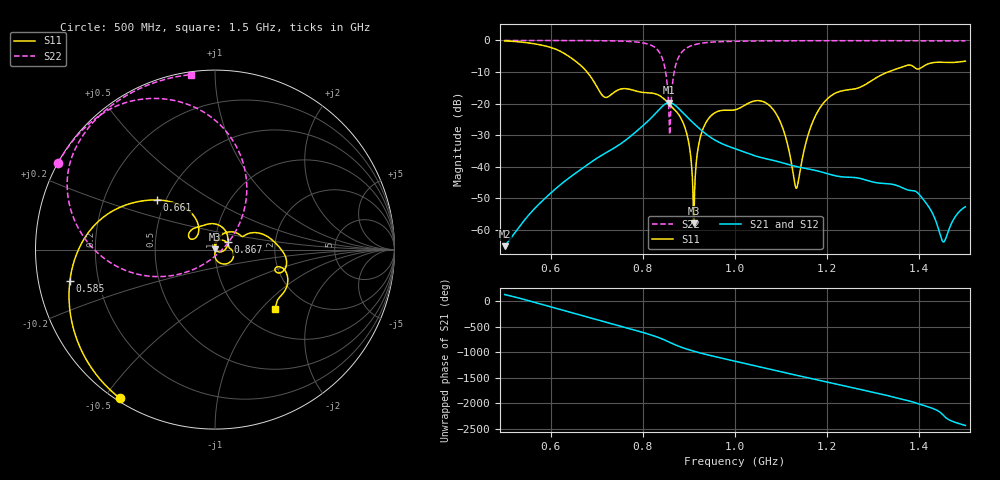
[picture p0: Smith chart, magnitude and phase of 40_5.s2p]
! TOUCHSTONE file generated by CST MICROWAVE STUDIO
! Date and time: Fri Oct  2 19:17:04 2020
! Project name: Scenario_1_Free_Space_out_of_line.cst
! Parameters = {Lambda=346.42; Step_1=17.321; dy1=-328.659; dx1=866; L_HA=400; MT=2.54; Rad_Dielectric=30; Rad_Lower=7.3; Rad_Upper=30; a_HA=580; a_WG=246; b_HA=500; b_WG=121; c_HA=0; c_WG=187; d_feed=85; h_feed=15; h_lower=18; h_upper=40}
! Header version: 2018
! Port assignment regex: !\s*Touchstone port\s*([0-9]+)\s*=\s*(CST MWS port|CST DS port)\s*([0-9]+|Zmin|Zmax)\s*\(\"(.*)\"\)(\s*mode\s*([0-9]+))?.*
! Touchstone port assignment:
! Touchstone port 1 = CST MWS port 1 ("")
! Touchstone port 2 = CST MWS port 2 ("")
# GHz S DB R 50
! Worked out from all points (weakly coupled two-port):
!   1003 points, 500 MHz to 1.5 GHz, reference 50 ohm
!   highest |S21| = -19.72 dB at 857 MHz (marker M1); lowest = -65.2 dB at 500 MHz (marker M2)
!   lowest |S11| = -57.9 dB at 911 MHz (marker M3), VSWR 1.00, Z = 50 + j0.127 ohm
!   |S11| at or under -10 dB: 678.9 MHz to 1.332 GHz (653.1 MHz wide, 65 % of centre)
!   |S22| runs from -29.7 to 0.0 dB; largest |S21 - S12| = 3e-05
!   S11 on the Smith chart (normalised r, x): 500 MHz: 0.01, -0.55; 585 MHz: 0.10, -0.11; 661 MHz: 0.45, +0.30; 867 MHz: 1.15, +0.09; 1.5 GHz: 1.41, -1.20
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0.5  -0.15 -122.5  -65.20 124.1  -65.20 124.1  -0.01 151.2
0.585  -1.64 -167.7  -50.41 -78.5  -50.41 -78.5  -0.02 145.3
0.661  -7.39 139.6  -41.33 91.7  -41.33 91.7  -0.04 138.9
0.667  -8.16 135.7  -40.71 76.8  -40.71 76.8  -0.04 138.3
0.717  -17.97 140.1  -35.85 -48.3  -35.85 -48.3  -0.10 132.7
0.834  -17.31 78.8  -22.13 5.4  -22.13 5.4  -3.37 86.1
0.847  -18.67 58.1  -20.31 -42.3  -20.31 -42.3  -8.13 63.1
0.857  -20.17 43.5  -19.72 -83.7  -19.72 -83.7  -24.44 18.3
0.867  -21.64 29.5  -20.22 -124.9  -20.22 -124.9  -10.82 -149.5
0.895  -29.38 -22.1  -24.11 141.0  -24.11 141.0  -2.39 172.2
0.911  -57.92 91.2  -26.37 97.3  -26.37 97.3  -1.39 162.4
0.922  -32.42 100.8  -27.83 69.7  -27.83 69.7  -1.01 157.7
0.936  -26.29 76.1  -29.54 37.0  -29.54 37.0  -0.71 152.9
1  -21.99 7.4  -34.32 -97.9  -34.32 -97.9  -0.27 140.3
1.082  -21.73 -68.2  -37.98 93.4  -37.98 93.4  -0.14 131.4
1.133  -46.87 -9.8  -39.96 -10.0  -39.95 -9.9  -0.10 127.0
1.167  -26.41 78.5  -40.95 -78.0  -40.94 -78.0  -0.10 124.2
1.21  -17.37 47.0  -42.61 -164.1  -42.62 -164.1  -0.09 120.9
1.334  -9.89 10.1  -45.44 -54.3  -45.44 -54.3  -0.09 111.5
1.399  -9.04 -16.5  -48.69 148.9  -48.69 148.9  -0.10 106.5
1.452  -6.95 -34.0  -63.85 -71.5  -64.13 -71.6  -0.12 102.1
1.5  -6.57 -44.5  -52.71 89.2  -52.71 89.2  -0.14 98.0
